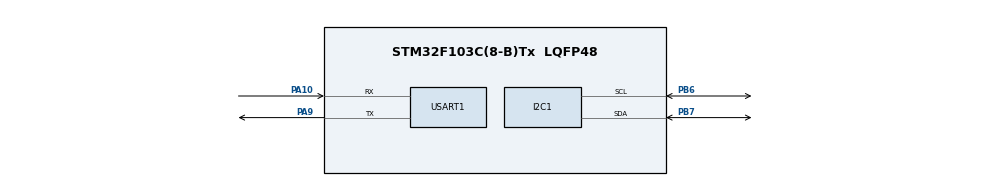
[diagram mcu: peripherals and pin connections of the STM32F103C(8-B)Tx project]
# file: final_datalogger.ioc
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Mcu.Family=STM32F1
Mcu.Name=STM32F103C(8-B)Tx
Mcu.Package=LQFP48
NVIC.PriorityGroup=NVIC_PRIORITYGROUP_4
PA10.Mode=Asynchronous
PA10.Signal=USART1_RX
PA13.Mode=Serial_Wire
PA13.Signal=SYS_JTMS-SWDIO
PA14.Mode=Serial_Wire
PA14.Signal=SYS_JTCK-SWCLK
PA9.Mode=Asynchronous
PA9.Signal=USART1_TX
PB6.Mode=I2C
PB6.Signal=I2C1_SCL
PB7.Mode=I2C
PB7.Signal=I2C1_SDA
PC14-OSC32_IN.Mode=LSE-External-Oscillator
PC14-OSC32_IN.Signal=RCC_OSC32_IN
PC15-OSC32_OUT.Mode=LSE-External-Oscillator
PC15-OSC32_OUT.Signal=RCC_OSC32_OUT
PD0-OSC_IN.Mode=HSE-External-Oscillator
PD0-OSC_IN.Signal=RCC_OSC_IN
PD1-OSC_OUT.Mode=HSE-External-Oscillator
PD1-OSC_OUT.Signal=RCC_OSC_OUT
ProjectManager.HeapSize=0x200
ProjectManager.StackSize=0x400
ProjectManager.TargetToolchain=STM32CubeIDE
RCC.APB1Freq_Value=8000000
RCC.APB2Freq_Value=8000000
USART1.VirtualMode=VM_ASYNC
board=custom

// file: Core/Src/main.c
/* USER CODE BEGIN Header */
/**
  ******************************************************************************
  * @file           : main.c
  * @brief          : Main program body
  ******************************************************************************
  * @attention
  *
  * Copyright (c) 2026 STMicroelectronics.
  * All rights reserved.
  *
  * This software is licensed under terms that can be found in the LICENSE file
  * in the root directory of this software component.
  * If no LICENSE file comes with this software, it is provided AS-IS.
  *
  ******************************************************************************
  */
/* USER CODE END Header */
#include "main.h"

/* USER CODE BEGIN Includes */
#include <math.h>
#include <stdio.h>
#include <string.h>
/* USER CODE END Includes */

/* USER CODE BEGIN PTD */
typedef struct {
  float ax, ay, az;   /* acceleration, g        */
  float gx, gy, gz;   /* angular rate, deg/s    */
} IMU_Data;

/* USER CODE END PTD */

/* USER CODE BEGIN PD */
/* MPU6050 (AD0 = GND -> 7-bit address 0x68) */
#define MPU6050_ADDR          (0x68 << 1)
#define MPU6050_SMPLRT_DIV    0x19
#define MPU6050_CONFIG        0x1A
#define MPU6050_GYRO_CONFIG   0x1B
#define MPU6050_ACCEL_CONFIG  0x1C
#define MPU6050_ACCEL_XOUT_H  0x3B
#define MPU6050_PWR_MGMT_1    0x6B
#define MPU6050_WHO_AM_I      0x75
#define MPU6050_I2C_TIMEOUT   100      /* ms */

#define ACC_LSB_PER_G         16384.0f /* +-2 g      */
#define GYRO_LSB_PER_DPS      131.0f   /* +-250 deg/s */

#define RAD_TO_DEG            57.29578f
#define FILTER_ALPHA          0.98f    /* complementary filter: weight of gyro */
#define LOOP_PERIOD_MS        20       /* 50 Hz output rate */
#define GYRO_CALIB_SAMPLES    200      /* keep the board still during start-up */

/* USER CODE END PD */

I2C_HandleTypeDef hi2c1;

UART_HandleTypeDef huart1;

/* USER CODE BEGIN PV */
static IMU_Data imu;
static float gyro_bias_x = 0, gyro_bias_y = 0, gyro_bias_z = 0;

/* Angles in degrees
 *   roll  : rotation around X
 *   pitch : rotation around Y
 *   yaw   : rotation around Z (gyro only -> drifts over time)
 */
static float roll = 0, pitch = 0, yaw = 0;

/* USER CODE END PV */

void SystemClock_Config(void);
static void MX_GPIO_Init(void);
static void MX_USART1_UART_Init(void);
static void MX_I2C1_Init(void);

/* USER CODE BEGIN 0 */

static HAL_StatusTypeDef MPU6050_WriteReg(uint8_t reg, uint8_t value)
{
  return HAL_I2C_Mem_Write(&hi2c1, MPU6050_ADDR, reg, I2C_MEMADD_SIZE_8BIT,
                           &value, 1, MPU6050_I2C_TIMEOUT);
}

static HAL_StatusTypeDef MPU6050_Init(void)
{
  uint8_t who_am_i = 0;

  if (HAL_I2C_Mem_Read(&hi2c1, MPU6050_ADDR, MPU6050_WHO_AM_I, I2C_MEMADD_SIZE_8BIT,
                       &who_am_i, 1, MPU6050_I2C_TIMEOUT) != HAL_OK)
    return HAL_ERROR;

  if (who_am_i != 0x68)
    return HAL_ERROR;

  if (MPU6050_WriteReg(MPU6050_PWR_MGMT_1,   0x00) != HAL_OK) return HAL_ERROR; /* wake up            */
  if (MPU6050_WriteReg(MPU6050_SMPLRT_DIV,   0x07) != HAL_OK) return HAL_ERROR; /* sample rate divider */
  if (MPU6050_WriteReg(MPU6050_CONFIG,       0x03) != HAL_OK) return HAL_ERROR; /* DLPF ~44 Hz         */
  if (MPU6050_WriteReg(MPU6050_GYRO_CONFIG,  0x00) != HAL_OK) return HAL_ERROR; /* +-250 deg/s         */
  if (MPU6050_WriteReg(MPU6050_ACCEL_CONFIG, 0x00) != HAL_OK) return HAL_ERROR; /* +-2 g               */

  return HAL_OK;
}

/* Read accel + gyro in one 14-byte burst (accel, temperature, gyro),
 * so all six values come from the same sampling instant. */
static HAL_StatusTypeDef MPU6050_Read(IMU_Data *d)
{
  uint8_t buf[14];

  if (HAL_I2C_Mem_Read(&hi2c1, MPU6050_ADDR, MPU6050_ACCEL_XOUT_H, I2C_MEMADD_SIZE_8BIT,
                       buf, sizeof(buf), MPU6050_I2C_TIMEOUT) != HAL_OK)
    return HAL_ERROR;

  int16_t ax = (int16_t)(buf[0]  << 8 | buf[1]);
  int16_t ay = (int16_t)(buf[2]  << 8 | buf[3]);
  int16_t az = (int16_t)(buf[4]  << 8 | buf[5]);
  /* buf[6..7] = temperature, not used */
  int16_t gx = (int16_t)(buf[8]  << 8 | buf[9]);
  int16_t gy = (int16_t)(buf[10] << 8 | buf[11]);
  int16_t gz = (int16_t)(buf[12] << 8 | buf[13]);

  d->ax = ax / ACC_LSB_PER_G;
  d->ay = ay / ACC_LSB_PER_G;
  d->az = az / ACC_LSB_PER_G;
  d->gx = gx / GYRO_LSB_PER_DPS - gyro_bias_x;
  d->gy = gy / GYRO_LSB_PER_DPS - gyro_bias_y;
  d->gz = gz / GYRO_LSB_PER_DPS - gyro_bias_z;

  return HAL_OK;
}

/* Average the gyro output while the board is still -> zero-rate offset */
static void MPU6050_CalibrateGyro(void)
{
  float sx = 0, sy = 0, sz = 0;
  int n = 0;

  for (int i = 0; i < GYRO_CALIB_SAMPLES; i++)
  {
    if (MPU6050_Read(&imu) == HAL_OK)
    {
      sx += imu.gx; sy += imu.gy; sz += imu.gz;
      n++;
    }
    HAL_Delay(5);
  }

  if (n > 0)
  {
    gyro_bias_x = sx / n;
    gyro_bias_y = sy / n;
    gyro_bias_z = sz / n;
  }
}

static void Angles_FromAccel(const IMU_Data *d, float *roll_acc, float *pitch_acc)
{
  *roll_acc  = atan2f( d->ay, sqrtf(d->ax * d->ax + d->az * d->az)) * RAD_TO_DEG;
  *pitch_acc = atan2f(-d->ax, sqrtf(d->ay * d->ay + d->az * d->az)) * RAD_TO_DEG;
}

/* Complementary filter: gyro for fast changes, accelerometer to remove drift */
static void Filter_Update(const IMU_Data *d, float dt)
{
  float roll_acc, pitch_acc;
  Angles_FromAccel(d, &roll_acc, &pitch_acc);

  roll  = FILTER_ALPHA * (roll  + d->gx * dt) + (1.0f - FILTER_ALPHA) * roll_acc;
  pitch = FILTER_ALPHA * (pitch + d->gy * dt) + (1.0f - FILTER_ALPHA) * pitch_acc;
  yaw  += d->gz * dt;   /* no magnetometer -> yaw cannot be corrected */
}

static void UART_Send(const char *s, int len)
{
  HAL_UART_Transmit(&huart1, (uint8_t *)s, (uint16_t)len, 100);
}

/* Output line (10 integer fields):
 *   tick_ms, ax, ay, az, roll, pitch, yaw, gx, gy, gz
 *   ax..az x1000 (g), roll..yaw x100 (deg), gx..gz x100 (deg/s)
 */
static void UART_SendSample(uint32_t tick, const IMU_Data *d)
{
  char buf[128];
  int len = snprintf(buf, sizeof(buf),
                     "%lu,%ld,%ld,%ld,%ld,%ld,%ld,%ld,%ld,%ld\r\n",
                     (unsigned long)tick,
                     (long)(d->ax * 1000.0f), (long)(d->ay * 1000.0f), (long)(d->az * 1000.0f),
                     (long)(roll * 100.0f), (long)(pitch * 100.0f), (long)(yaw * 100.0f),
                     (long)(d->gx * 100.0f), (long)(d->gy * 100.0f), (long)(d->gz * 100.0f));

  if (len > 0 && len < (int)sizeof(buf))
    UART_Send(buf, len);
}

/* USER CODE END 0 */

int main(void)
{

  /* MCU Configuration--------------------------------------------------------*/

  /* Reset of all peripherals, Initializes the Flash interface and the Systick. */
  HAL_Init();

  /* Configure the system clock */
  SystemClock_Config();

  /* Initialize all configured peripherals */
  MX_GPIO_Init();
  MX_USART1_UART_Init();
  MX_I2C1_Init();
  /* USER CODE BEGIN 2 */

  if (MPU6050_Init() != HAL_OK)
  {
    /* Sensor not found: report it instead of sending zeros forever */
    const char msg[] = "ERR,MPU6050 not found\r\n";
    while (1)
    {
      UART_Send(msg, sizeof(msg) - 1);
      HAL_Delay(1000);
    }
  }

  MPU6050_CalibrateGyro();

  /* Start the filter from the accelerometer angles instead of 0 */
  if (MPU6050_Read(&imu) == HAL_OK)
    Angles_FromAccel(&imu, &roll, &pitch);

  uint32_t last_tick = HAL_GetTick();

  /* USER CODE END 2 */

  /* Infinite loop */
  while (1)
  {

    /* USER CODE BEGIN 3 */

    /* Fixed-rate loop based on SysTick, so dt is known and stable */
    uint32_t now = HAL_GetTick();
    if (now - last_tick < LOOP_PERIOD_MS)
      continue;

    float dt = (now - last_tick) / 1000.0f;
    last_tick = now;

    if (MPU6050_Read(&imu) != HAL_OK)
    {
      const char msg[] = "ERR,I2C read failed\r\n";
      UART_Send(msg, sizeof(msg) - 1);
      continue;
    }

    Filter_Update(&imu, dt);
    UART_SendSample(now, &imu);
  }
  /* USER CODE END 3 */

}

void SystemClock_Config(void)
{
  RCC_OscInitTypeDef RCC_OscInitStruct = {0};
  RCC_ClkInitTypeDef RCC_ClkInitStruct = {0};

  /** Initializes the RCC Oscillators according to the specified parameters
  * in the RCC_OscInitTypeDef structure.
  */
  RCC_OscInitStruct.OscillatorType = RCC_OSCILLATORTYPE_HSI;
  RCC_OscInitStruct.HSIState = RCC_HSI_ON;
  RCC_OscInitStruct.HSICalibrationValue = RCC_HSICALIBRATION_DEFAULT;
  RCC_OscInitStruct.PLL.PLLState = RCC_PLL_NONE;
  if (HAL_RCC_OscConfig(&RCC_OscInitStruct) != HAL_OK)
  {
    Error_Handler();
  }

  /** Initializes the CPU, AHB and APB buses clocks
  */
  RCC_ClkInitStruct.ClockType = RCC_CLOCKTYPE_HCLK|RCC_CLOCKTYPE_SYSCLK
                              |RCC_CLOCKTYPE_PCLK1|RCC_CLOCKTYPE_PCLK2;
  RCC_ClkInitStruct.SYSCLKSource = RCC_SYSCLKSOURCE_HSI;
  RCC_ClkInitStruct.AHBCLKDivider = RCC_SYSCLK_DIV1;
  RCC_ClkInitStruct.APB1CLKDivider = RCC_HCLK_DIV1;
  RCC_ClkInitStruct.APB2CLKDivider = RCC_HCLK_DIV1;

  if (HAL_RCC_ClockConfig(&RCC_ClkInitStruct, FLASH_LATENCY_0) != HAL_OK)
  {
    Error_Handler();
  }
}

static void MX_I2C1_Init(void)
{

  hi2c1.Instance = I2C1;
  hi2c1.Init.ClockSpeed = 100000;
  hi2c1.Init.DutyCycle = I2C_DUTYCYCLE_2;
  hi2c1.Init.OwnAddress1 = 0;
  hi2c1.Init.AddressingMode = I2C_ADDRESSINGMODE_7BIT;
  hi2c1.Init.DualAddressMode = I2C_DUALADDRESS_DISABLE;
  hi2c1.Init.OwnAddress2 = 0;
  hi2c1.Init.GeneralCallMode = I2C_GENERALCALL_DISABLE;
  hi2c1.Init.NoStretchMode = I2C_NOSTRETCH_DISABLE;
  if (HAL_I2C_Init(&hi2c1) != HAL_OK)
  {
    Error_Handler();
  }

}

static void MX_USART1_UART_Init(void)
{

  huart1.Instance = USART1;
  huart1.Init.BaudRate = 115200;
  huart1.Init.WordLength = UART_WORDLENGTH_8B;
  huart1.Init.StopBits = UART_STOPBITS_1;
  huart1.Init.Parity = UART_PARITY_NONE;
  huart1.Init.Mode = UART_MODE_TX_RX;
  huart1.Init.HwFlowCtl = UART_HWCONTROL_NONE;
  huart1.Init.OverSampling = UART_OVERSAMPLING_16;
  if (HAL_UART_Init(&huart1) != HAL_OK)
  {
    Error_Handler();
  }

}

static void MX_GPIO_Init(void)
{

  /* GPIO Ports Clock Enable */
  __HAL_RCC_GPIOC_CLK_ENABLE();
  __HAL_RCC_GPIOD_CLK_ENABLE();
  __HAL_RCC_GPIOA_CLK_ENABLE();
  __HAL_RCC_GPIOB_CLK_ENABLE();

}

void Error_Handler(void)
{
  __disable_irq();
  while (1)
  {
  }
}
